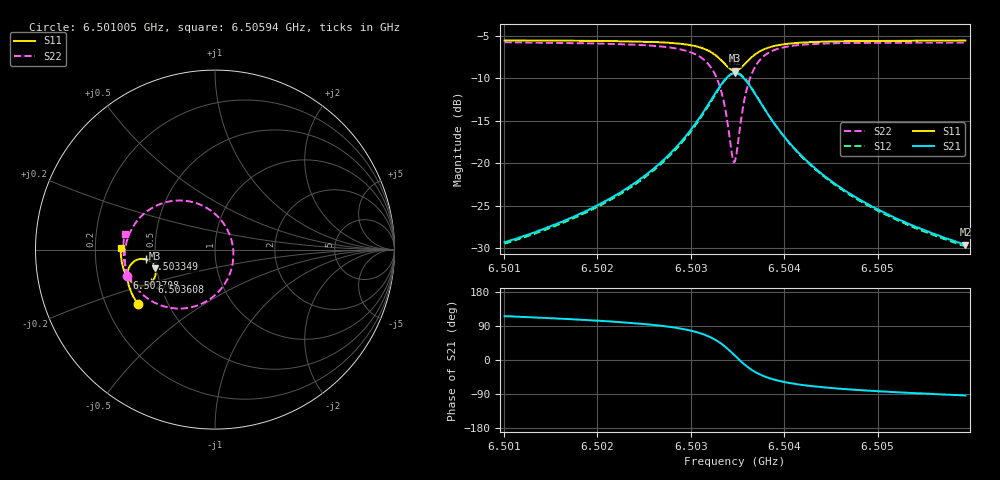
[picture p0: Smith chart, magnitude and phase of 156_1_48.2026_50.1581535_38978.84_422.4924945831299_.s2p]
#  HZ  S  RI  R  50.00
! Rohde & Schwarz Vector Network Analyzer
! Rohde-Schwarz,ZNB20-2Port,1311601062101988,3.16
! Created: UTC 3/20/2024, 11:43:01 AM
! freq[Hz]  re:S11  im:S11  re:S21  im:S21  re:S12  im:S12  re:S22  im:S22
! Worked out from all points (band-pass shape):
!   401 points, 6.501005 GHz to 6.50594 GHz, reference 50 ohm
!   highest |S21| = -9.43 dB at 6.503473 GHz (marker M1); lowest = -29.6 dB at 6.50594 GHz (marker M2)
!   |S21| within 3 dB of the highest: 6.503226 GHz to 6.503719 GHz (493.7 kHz wide, 0.00759 % of centre)
!   lowest |S11| = -9.1 dB at 6.503473 GHz (marker M3), VSWR 2.07, Z = 24.5 - j5.84 ohm
!   |S11| at or under -10 dB: nowhere
!   |S22| runs from -19.9 to -5.8 dB; largest |S21 - S12| = 0.012
!   S11 on the Smith chart (normalised r, x): 6.501005 GHz: 0.34, -0.29; 6.502708 GHz: 0.33, -0.14; 6.503349 GHz: 0.44, -0.06; 6.503608 GHz: 0.45, -0.19; 6.50594 GHz: 0.31, +0.01
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6.5010055e9  -0.4288 -0.3056  -0.0148 0.0309  -0.0131 0.0308  -0.4918 -0.1484
6.501832e9  -0.4638 -0.2439  -0.0142 0.0488  -0.0117 0.0484  -0.5038 -0.0596
6.5022638e9  -0.479 -0.2055  -0.0113 0.0673  -0.00827 0.0661  -0.5005 0.00229
6.5026585e9  -0.4882 -0.1616  -0.00172 0.0987  0.00207 0.0962  -0.4796 0.0823
6.5027079e9  -0.4886 -0.155  0.000829 0.1044  0.00458 0.1018  -0.474 0.095
6.5029423e9  -0.4852 -0.1182  0.0236 0.1413  0.0273 0.137  -0.4263 0.1692
6.5031026e9  -0.4706 -0.086  0.0629 0.1772  0.0657 0.1713  -0.3498 0.2327
6.5032507e9  -0.433 -0.0564  0.1445 0.206  0.1453 0.1995  -0.2009 0.2737
6.5033494e9  -0.3867 -0.0536  0.2357 0.1893  0.2359 0.1843  -0.0427 0.2303
6.5034357e9  -0.3441 -0.0826  0.3137 0.1147  0.3161 0.1101  0.0816 0.0833
6.5034604e9  -0.3362 -0.0968  0.3269 0.0829  0.3302 0.0777  0.0983 0.0235
6.5034727e9  -0.3333 -0.1045  0.3313 0.066  0.3348 0.0604  0.1021 -0.00798
6.5034974e9  -0.3304 -0.1207  0.3348 0.0315  0.3383 0.0245  0.0993 -0.0713
6.5035344e9  -0.3326 -0.1445  0.3274 -0.0184  0.3305 -0.0275  0.0719 -0.1599
6.5036084e9  -0.3547 -0.1815  0.2808 -0.0945  0.2805 -0.1061  -0.0381 -0.2823
6.5037194e9  -0.4002 -0.2012  0.194 -0.1396  0.1886 -0.1494  -0.2138 -0.3283
6.5038798e9  -0.4472 -0.1918  0.1105 -0.1359  0.1033 -0.141  -0.3644 -0.2798
6.5040525e9  -0.4748 -0.1704  0.0651 -0.1151  0.0587 -0.1173  -0.4377 -0.2133
6.5042992e9  -0.4959 -0.1405  0.0345 -0.09  0.0295 -0.0905  -0.4818 -0.1401
6.5046817e9  -0.5118 -0.1003  0.0148 -0.0655  0.0114 -0.0652  -0.5047 -0.0623
6.5051258e9  -0.5209 -0.0589  0.00523 -0.0491  0.0028 -0.0484  -0.5107 0.0015
6.50594e9  -0.526 0.0104  -0.00213 -0.033  -0.00335 -0.0323  -0.5031 0.089
